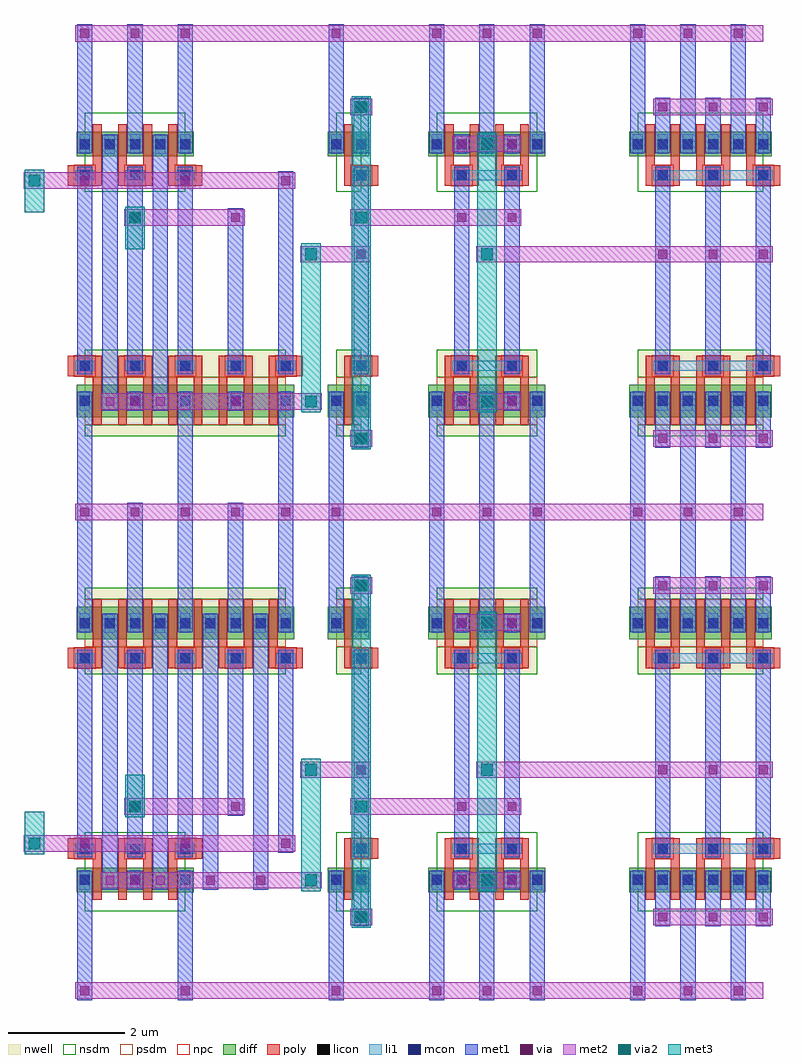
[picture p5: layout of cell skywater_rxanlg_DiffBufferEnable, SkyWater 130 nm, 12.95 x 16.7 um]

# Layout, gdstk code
import gdstk
lib = gdstk.Library(unit=1e-6, precision=1e-09)
def R(c, l, rs):  # rectangles x0, y0, x1, y1
    for r in rs: c.add(gdstk.rectangle(r[:2], r[2:], *l))
def A(c, l, x, y, w, h, nx, ny, dx, dy):  # array of equal rectangles
    R(c, l, [(x+i*dx, y+j*dy, x+i*dx+w, y+j*dy+h) for i in range(nx) for j in range(ny)])
def P(c, l, *ps):  # polygons
    for p in ps: c.add(gdstk.Polygon(p, *l))
nwell = (64, 20)
diff = (65, 20)
poly = (66, 20)
licon = (66, 44)
li1 = (67, 20)
mcon = (67, 44)
met1 = (68, 20)
via = (68, 44)
met2 = (69, 20)
via2 = (69, 44)
met3 = (70, 20)
nsdm = (93, 44)
psdm = (94, 20)
npc = (95, 20)

skywater_rxanlg_mosconn_ = lib.new_cell('skywater_rxanlg_MOSConn_7')
R(skywater_rxanlg_mosconn_, diff, [(-0.14,0.605,0.57,1.025)])
R(skywater_rxanlg_mosconn_, poly, [(0.265,0.105,0.595,0.455)])
P(skywater_rxanlg_mosconn_, poly, [(0.14,1.155),(0.14,0.105),(0.72,0.105),(0.72,0.455),(0.29,0.455),(0.29,1.155)])
R(skywater_rxanlg_mosconn_, licon, [(0.345,0.195,0.515,0.365), (-0.085,0.73,0.085,0.9), (0.345,0.73,0.515,0.9)])
R(skywater_rxanlg_mosconn_, li1, [(0.265,0.195,0.595,0.365), (0.265,0.195,0.595,0.365), (0.305,0.195,0.555,0.365), (-0.085,0.65,0.085,0.98), (0.345,0.65,0.515,0.98), (-0.085,0.69,0.085,0.94), (0.345,0.69,0.515,0.94)])
R(skywater_rxanlg_mosconn_, mcon, [(0.345,0.195,0.515,0.365), (-0.085,0.73,0.085,0.9), (0.345,0.73,0.515,0.9)])
R(skywater_rxanlg_mosconn_, met1, [(0.3,0.105,0.56,0.425), (0.3,0.135,0.56,0.425), (-0.13,0.655,0.13,0.975), (0.3,0.655,0.56,0.975), (-0.13,0.67,0.13,0.96), (0.3,0.67,0.56,0.96)])
R(skywater_rxanlg_mosconn_, nsdm, [(0,0,0.43,1.35)])
R(skywater_rxanlg_mosconn_, npc, [(0.245,0.095,0.615,0.465)])

c_skywater_rxanlg_mosconn_ = lib.new_cell('skywater_rxanlg_MOSConn_4')
R(c_skywater_rxanlg_mosconn_, nwell, [(0,0,0.43,1.48)])
R(c_skywater_rxanlg_mosconn_, diff, [(-0.14,0.605,0.57,1.155)])
R(c_skywater_rxanlg_mosconn_, poly, [(0.265,0.105,0.595,0.455)])
P(c_skywater_rxanlg_mosconn_, poly, [(0.14,1.285),(0.14,0.105),(0.72,0.105),(0.72,0.455),(0.29,0.455),(0.29,1.285)])
R(c_skywater_rxanlg_mosconn_, licon, [(0.345,0.195,0.515,0.365), (-0.085,0.795,0.085,0.965), (0.345,0.795,0.515,0.965)])
R(c_skywater_rxanlg_mosconn_, li1, [(0.265,0.195,0.595,0.365), (0.265,0.195,0.595,0.365), (0.305,0.195,0.555,0.365), (-0.085,0.715,0.085,1.045), (0.345,0.715,0.515,1.045), (-0.085,0.755,0.085,1.005), (0.345,0.755,0.515,1.005)])
R(c_skywater_rxanlg_mosconn_, mcon, [(0.345,0.195,0.515,0.365), (-0.085,0.795,0.085,0.965), (0.345,0.795,0.515,0.965)])
R(c_skywater_rxanlg_mosconn_, met1, [(0.3,0.105,0.56,0.425), (0.3,0.135,0.56,0.425), (-0.13,0.72,0.13,1.04), (0.3,0.72,0.56,1.04), (-0.13,0.735,0.13,1.025), (0.3,0.735,0.56,1.025)])
R(c_skywater_rxanlg_mosconn_, nsdm, [(0,0,0.43,0.475), (0,1.285,0.43,1.48)])
R(c_skywater_rxanlg_mosconn_, psdm, [(0,0.475,0.43,1.285)])
R(c_skywater_rxanlg_mosconn_, npc, [(0.245,0.095,0.615,0.465)])

skywater_rxanlg_invcore_ = lib.new_cell('skywater_rxanlg_InvCore_9')
R(skywater_rxanlg_invcore_, met1, [(-0.13,-0.16,0.13,2.055), (-0.13,-0.16,0.13,0.16), (0.3,1.1,0.56,2.055), (0.3,1.1,0.56,1.42), (0.3,2.285,0.56,5.835), (0.3,3.62,0.56,3.94), (-0.13,6.13,0.13,8.35), (0.3,6.13,0.56,7.09), (0.3,6.77,0.56,7.09), (-0.13,8.03,0.13,8.35)])
R(skywater_rxanlg_invcore_, via, [(-0.075,-0.075,0.075,0.075), (0.355,1.185,0.505,1.335), (0.355,3.705,0.505,3.855), (0.355,6.855,0.505,7.005), (-0.075,8.115,0.075,8.265)])
R(skywater_rxanlg_invcore_, met2, [(-0.16,-0.14,0.43,0.14), (-0.16,-0.14,0.16,0.14), (0.245,1.12,0.615,1.4), (0.245,1.12,0.615,1.4), (0.27,1.12,0.59,1.4), (0.27,3.64,0.59,3.92), (0.27,3.64,0.59,3.92), (0.245,6.79,0.615,7.07), (0.245,6.79,0.615,7.07), (0.27,6.79,0.59,7.07), (-0.16,8.05,0.43,8.33), (-0.16,8.05,0.16,8.33)])
R(skywater_rxanlg_invcore_, via2, [(0.33,1.16,0.53,1.36), (0.33,6.83,0.53,7.03)])
R(skywater_rxanlg_invcore_, met3, [(0.265,1.075,0.595,7.115), (0.265,1.075,0.595,1.445), (0.265,6.745,0.595,7.115)])
skywater_rxanlg_invcore_.add(gdstk.Reference(skywater_rxanlg_mosconn_, (0,2.71), x_reflection=True))
skywater_rxanlg_invcore_.add(gdstk.Reference(c_skywater_rxanlg_mosconn_, (0,5.41)))

c_skywater_rxanlg_mosconn__ = lib.new_cell('skywater_rxanlg_MOSConn_14')
R(c_skywater_rxanlg_mosconn__, diff, [(-0.14,0.605,2.29,1.025)])
A(c_skywater_rxanlg_mosconn__, poly, 0.265, 0.105, 0.33, 0.35, 3, 1, 0.86, 0)
P(c_skywater_rxanlg_mosconn__, poly, [(0.57,1.155),(0.57,0.455),(0.29,0.455),(0.29,1.155),(0.14,1.155),(0.14,0.105),(0.72,0.105),(0.72,1.155)],
  [(1.43,1.155),(1.43,0.455),(1.15,0.455),(1.15,1.155),(1,1.155),(1,0.105),(1.58,0.105),(1.58,1.155)],
  [(1.86,1.155),(1.86,0.105),(2.44,0.105),(2.44,0.455),(2.01,0.455),(2.01,1.155)])
A(c_skywater_rxanlg_mosconn__, licon, 0.345, 0.195, 0.17, 0.17, 3, 1, 0.86, 0)
A(c_skywater_rxanlg_mosconn__, licon, -0.085, 0.73, 0.17, 0.17, 6, 1, 0.43, 0)
A(c_skywater_rxanlg_mosconn__, li1, 0.265, 0.195, 0.33, 0.17, 3, 1, 0.86, 0)
A(c_skywater_rxanlg_mosconn__, li1, 0.305, 0.195, 0.25, 0.17, 3, 1, 0.86, 0)
A(c_skywater_rxanlg_mosconn__, li1, -0.085, 0.65, 0.17, 0.33, 6, 1, 0.43, 0)
A(c_skywater_rxanlg_mosconn__, li1, -0.085, 0.69, 0.17, 0.25, 6, 1, 0.43, 0)
R(c_skywater_rxanlg_mosconn__, li1, [(0.265,0.195,2.315,0.365)])
A(c_skywater_rxanlg_mosconn__, mcon, 0.345, 0.195, 0.17, 0.17, 3, 1, 0.86, 0)
A(c_skywater_rxanlg_mosconn__, mcon, -0.085, 0.73, 0.17, 0.17, 6, 1, 0.43, 0)
A(c_skywater_rxanlg_mosconn__, met1, 0.3, 0.105, 0.26, 0.32, 3, 1, 0.86, 0)
A(c_skywater_rxanlg_mosconn__, met1, 0.3, 0.135, 0.26, 0.29, 3, 1, 0.86, 0)
A(c_skywater_rxanlg_mosconn__, met1, -0.13, 0.655, 0.26, 0.32, 6, 1, 0.43, 0)
A(c_skywater_rxanlg_mosconn__, met1, -0.13, 0.67, 0.26, 0.29, 6, 1, 0.43, 0)
R(c_skywater_rxanlg_mosconn__, nsdm, [(0,0,2.15,1.35)])
A(c_skywater_rxanlg_mosconn__, npc, 0.245, 0.095, 0.37, 0.37, 3, 1, 0.86, 0)

c_skywater_rxanlg_mosconn___ = lib.new_cell('skywater_rxanlg_MOSConn_13')
R(c_skywater_rxanlg_mosconn___, nwell, [(0,0,2.15,1.48)])
R(c_skywater_rxanlg_mosconn___, diff, [(-0.14,0.605,2.29,1.155)])
A(c_skywater_rxanlg_mosconn___, poly, 0.265, 0.105, 0.33, 0.35, 3, 1, 0.86, 0)
P(c_skywater_rxanlg_mosconn___, poly, [(0.57,1.285),(0.57,0.455),(0.29,0.455),(0.29,1.285),(0.14,1.285),(0.14,0.105),(0.72,0.105),(0.72,1.285)],
  [(1.43,1.285),(1.43,0.455),(1.15,0.455),(1.15,1.285),(1,1.285),(1,0.105),(1.58,0.105),(1.58,1.285)],
  [(1.86,1.285),(1.86,0.105),(2.44,0.105),(2.44,0.455),(2.01,0.455),(2.01,1.285)])
A(c_skywater_rxanlg_mosconn___, licon, 0.345, 0.195, 0.17, 0.17, 3, 1, 0.86, 0)
A(c_skywater_rxanlg_mosconn___, licon, -0.085, 0.795, 0.17, 0.17, 6, 1, 0.43, 0)
A(c_skywater_rxanlg_mosconn___, li1, 0.265, 0.195, 0.33, 0.17, 3, 1, 0.86, 0)
A(c_skywater_rxanlg_mosconn___, li1, 0.305, 0.195, 0.25, 0.17, 3, 1, 0.86, 0)
A(c_skywater_rxanlg_mosconn___, li1, -0.085, 0.715, 0.17, 0.33, 6, 1, 0.43, 0)
A(c_skywater_rxanlg_mosconn___, li1, -0.085, 0.755, 0.17, 0.25, 6, 1, 0.43, 0)
R(c_skywater_rxanlg_mosconn___, li1, [(0.265,0.195,2.315,0.365)])
A(c_skywater_rxanlg_mosconn___, mcon, 0.345, 0.195, 0.17, 0.17, 3, 1, 0.86, 0)
A(c_skywater_rxanlg_mosconn___, mcon, -0.085, 0.795, 0.17, 0.17, 6, 1, 0.43, 0)
A(c_skywater_rxanlg_mosconn___, met1, 0.3, 0.105, 0.26, 0.32, 3, 1, 0.86, 0)
A(c_skywater_rxanlg_mosconn___, met1, 0.3, 0.135, 0.26, 0.29, 3, 1, 0.86, 0)
A(c_skywater_rxanlg_mosconn___, met1, -0.13, 0.72, 0.26, 0.32, 6, 1, 0.43, 0)
A(c_skywater_rxanlg_mosconn___, met1, -0.13, 0.735, 0.26, 0.29, 6, 1, 0.43, 0)
R(c_skywater_rxanlg_mosconn___, nsdm, [(0,0,2.15,0.475), (0,1.285,2.15,1.48)])
R(c_skywater_rxanlg_mosconn___, psdm, [(0,0.475,2.15,1.285)])
A(c_skywater_rxanlg_mosconn___, npc, 0.245, 0.095, 0.37, 0.37, 3, 1, 0.86, 0)

c_skywater_rxanlg_invcore_ = lib.new_cell('skywater_rxanlg_InvCore_11')
A(c_skywater_rxanlg_invcore_, met1, -0.13, -0.16, 0.26, 2.215, 3, 1, 0.86, 0)
A(c_skywater_rxanlg_invcore_, met1, -0.13, -0.16, 0.26, 0.32, 3, 2, 0.86, 8.19)
A(c_skywater_rxanlg_invcore_, met1, 0.3, 1.1, 0.26, 0.955, 3, 1, 0.86, 0)
A(c_skywater_rxanlg_invcore_, met1, 0.3, 1.1, 0.26, 0.32, 3, 2, 0.86, 2.52)
A(c_skywater_rxanlg_invcore_, met1, 0.3, 2.285, 0.26, 3.55, 3, 1, 0.86, 0)
A(c_skywater_rxanlg_invcore_, met1, -0.13, 6.13, 0.26, 2.22, 3, 1, 0.86, 0)
A(c_skywater_rxanlg_invcore_, met1, 0.3, 6.13, 0.26, 0.96, 3, 1, 0.86, 0)
A(c_skywater_rxanlg_invcore_, met1, 0.3, 6.77, 0.26, 0.32, 3, 1, 0.86, 0)
A(c_skywater_rxanlg_invcore_, via, -0.075, -0.075, 0.15, 0.15, 3, 2, 0.86, 8.19)
A(c_skywater_rxanlg_invcore_, via, 0.355, 1.185, 0.15, 0.15, 3, 2, 0.86, 2.52)
A(c_skywater_rxanlg_invcore_, via, 0.355, 6.855, 0.15, 0.15, 3, 1, 0.86, 0)
A(c_skywater_rxanlg_invcore_, met2, -0.16, -0.14, 0.32, 0.28, 3, 2, 0.86, 8.19)
A(c_skywater_rxanlg_invcore_, met2, 0.27, 1.12, 0.32, 0.28, 3, 2, 0.86, 2.52)
A(c_skywater_rxanlg_invcore_, met2, 0.27, 6.79, 0.32, 0.28, 3, 1, 0.86, 0)
R(c_skywater_rxanlg_invcore_, met2, [(-0.16,-0.14,2.15,0.14), (0.27,1.12,2.31,1.4), (0.27,3.64,2.31,3.92), (0.27,6.79,2.31,7.07), (-0.16,8.05,2.15,8.33)])
c_skywater_rxanlg_invcore_.add(gdstk.Reference(c_skywater_rxanlg_mosconn__, (0,2.71), x_reflection=True))
c_skywater_rxanlg_invcore_.add(gdstk.Reference(c_skywater_rxanlg_mosconn___, (0,5.41)))

c_skywater_rxanlg_mosconn____ = lib.new_cell('skywater_rxanlg_MOSConn_8')
R(c_skywater_rxanlg_mosconn____, diff, [(-0.14,0.605,1.86,1.025)])
R(c_skywater_rxanlg_mosconn____, poly, [(0.265,0.105,0.595,0.455), (1.125,0.105,1.455,0.455)])
P(c_skywater_rxanlg_mosconn____, poly, [(0.57,1.155),(0.57,0.455),(0.29,0.455),(0.29,1.155),(0.14,1.155),(0.14,0.105),(0.72,0.105),(0.72,1.155)],
  [(1.43,1.155),(1.43,0.455),(1.15,0.455),(1.15,1.155),(1,1.155),(1,0.105),(1.58,0.105),(1.58,1.155)])
A(c_skywater_rxanlg_mosconn____, licon, -0.085, 0.73, 0.17, 0.17, 5, 1, 0.43, 0)
R(c_skywater_rxanlg_mosconn____, licon, [(0.345,0.195,0.515,0.365), (1.205,0.195,1.375,0.365)])
A(c_skywater_rxanlg_mosconn____, li1, -0.085, 0.65, 0.17, 0.33, 5, 1, 0.43, 0)
A(c_skywater_rxanlg_mosconn____, li1, -0.085, 0.69, 0.17, 0.25, 5, 1, 0.43, 0)
R(c_skywater_rxanlg_mosconn____, li1, [(0.265,0.195,1.455,0.365), (0.265,0.195,0.595,0.365), (0.305,0.195,0.555,0.365), (1.125,0.195,1.455,0.365), (1.165,0.195,1.415,0.365)])
A(c_skywater_rxanlg_mosconn____, mcon, -0.085, 0.73, 0.17, 0.17, 5, 1, 0.43, 0)
R(c_skywater_rxanlg_mosconn____, mcon, [(0.345,0.195,0.515,0.365), (1.205,0.195,1.375,0.365)])
A(c_skywater_rxanlg_mosconn____, met1, -0.13, 0.655, 0.26, 0.32, 5, 1, 0.43, 0)
A(c_skywater_rxanlg_mosconn____, met1, -0.13, 0.67, 0.26, 0.29, 5, 1, 0.43, 0)
R(c_skywater_rxanlg_mosconn____, met1, [(0.3,0.105,0.56,0.425), (1.16,0.105,1.42,0.425), (0.3,0.135,0.56,0.425), (1.16,0.135,1.42,0.425)])
R(c_skywater_rxanlg_mosconn____, nsdm, [(0,0,1.72,1.35)])
R(c_skywater_rxanlg_mosconn____, npc, [(0.245,0.095,0.615,0.465), (1.105,0.095,1.475,0.465)])

c_skywater_rxanlg_mosconn_____ = lib.new_cell('skywater_rxanlg_MOSConn_9')
R(c_skywater_rxanlg_mosconn_____, nwell, [(0,0,1.72,1.48)])
R(c_skywater_rxanlg_mosconn_____, diff, [(-0.14,0.605,1.86,1.155)])
R(c_skywater_rxanlg_mosconn_____, poly, [(0.265,0.105,0.595,0.455), (1.125,0.105,1.455,0.455)])
P(c_skywater_rxanlg_mosconn_____, poly, [(0.57,1.285),(0.57,0.455),(0.29,0.455),(0.29,1.285),(0.14,1.285),(0.14,0.105),(0.72,0.105),(0.72,1.285)],
  [(1.43,1.285),(1.43,0.455),(1.15,0.455),(1.15,1.285),(1,1.285),(1,0.105),(1.58,0.105),(1.58,1.285)])
A(c_skywater_rxanlg_mosconn_____, licon, -0.085, 0.795, 0.17, 0.17, 5, 1, 0.43, 0)
R(c_skywater_rxanlg_mosconn_____, licon, [(0.345,0.195,0.515,0.365), (1.205,0.195,1.375,0.365)])
A(c_skywater_rxanlg_mosconn_____, li1, -0.085, 0.715, 0.17, 0.33, 5, 1, 0.43, 0)
A(c_skywater_rxanlg_mosconn_____, li1, -0.085, 0.755, 0.17, 0.25, 5, 1, 0.43, 0)
R(c_skywater_rxanlg_mosconn_____, li1, [(0.265,0.195,1.455,0.365), (0.265,0.195,0.595,0.365), (0.305,0.195,0.555,0.365), (1.125,0.195,1.455,0.365), (1.165,0.195,1.415,0.365)])
A(c_skywater_rxanlg_mosconn_____, mcon, -0.085, 0.795, 0.17, 0.17, 5, 1, 0.43, 0)
R(c_skywater_rxanlg_mosconn_____, mcon, [(0.345,0.195,0.515,0.365), (1.205,0.195,1.375,0.365)])
A(c_skywater_rxanlg_mosconn_____, met1, -0.13, 0.72, 0.26, 0.32, 5, 1, 0.43, 0)
A(c_skywater_rxanlg_mosconn_____, met1, -0.13, 0.735, 0.26, 0.29, 5, 1, 0.43, 0)
R(c_skywater_rxanlg_mosconn_____, met1, [(0.3,0.105,0.56,0.425), (1.16,0.105,1.42,0.425), (0.3,0.135,0.56,0.425), (1.16,0.135,1.42,0.425)])
R(c_skywater_rxanlg_mosconn_____, nsdm, [(0,0,1.72,0.475), (0,1.285,1.72,1.48)])
R(c_skywater_rxanlg_mosconn_____, psdm, [(0,0.475,1.72,1.285)])
R(c_skywater_rxanlg_mosconn_____, npc, [(0.245,0.095,0.615,0.465), (1.105,0.095,1.475,0.465)])

c_skywater_rxanlg_invcore__ = lib.new_cell('skywater_rxanlg_InvCore_10')
A(c_skywater_rxanlg_invcore__, met1, -0.13, -0.16, 0.26, 2.215, 3, 1, 0.86, 0)
A(c_skywater_rxanlg_invcore__, met1, -0.13, -0.16, 0.26, 0.32, 3, 2, 0.86, 8.19)
A(c_skywater_rxanlg_invcore__, met1, -0.13, 6.13, 0.26, 2.22, 3, 1, 0.86, 0)
R(c_skywater_rxanlg_invcore__, met1, [(0.3,1.73,0.56,2.055), (0.3,1.73,0.56,2.05), (1.16,1.73,1.42,2.055), (1.16,1.73,1.42,2.05), (0.3,2.285,0.56,5.835), (1.16,2.285,1.42,5.835), (0.3,2.99,0.56,3.31), (1.16,2.99,1.42,3.31), (0.3,6.13,0.56,6.46), (1.16,6.13,1.42,6.46), (0.3,6.14,0.56,6.46), (1.16,6.14,1.42,6.46)])
A(c_skywater_rxanlg_invcore__, via, -0.075, -0.075, 0.15, 0.15, 3, 2, 0.86, 8.19)
R(c_skywater_rxanlg_invcore__, via, [(0.355,1.815,0.505,1.965), (1.215,1.815,1.365,1.965), (0.355,3.075,0.505,3.225), (1.215,3.075,1.365,3.225), (0.355,6.225,0.505,6.375), (1.215,6.225,1.365,6.375)])
A(c_skywater_rxanlg_invcore__, met2, -0.16, -0.14, 0.32, 0.28, 3, 2, 0.86, 8.19)
R(c_skywater_rxanlg_invcore__, met2, [(-0.16,-0.14,1.88,0.14), (0.27,1.75,1.45,2.03), (0.27,1.75,0.59,2.03), (0.675,1.75,1.045,2.03), (1.13,1.75,1.45,2.03), (0.27,3.01,1.45,3.29), (0.27,3.01,0.59,3.29), (1.13,3.01,1.45,3.29), (0.27,6.16,1.45,6.44), (0.27,6.16,0.59,6.44), (0.675,6.16,1.045,6.44), (1.13,6.16,1.45,6.44), (-0.16,8.05,1.88,8.33)])
R(c_skywater_rxanlg_invcore__, via2, [(0.76,1.79,0.96,1.99), (0.76,6.2,0.96,6.4)])
R(c_skywater_rxanlg_invcore__, met3, [(0.695,1.705,1.025,6.485), (0.695,1.705,1.025,2.075), (0.695,6.115,1.025,6.485)])
c_skywater_rxanlg_invcore__.add(gdstk.Reference(c_skywater_rxanlg_mosconn____, (0,2.71), x_reflection=True))
c_skywater_rxanlg_invcore__.add(gdstk.Reference(c_skywater_rxanlg_mosconn_____, (0,5.41)))

skywater_rxanlg_invchain = lib.new_cell('skywater_rxanlg_InvChainCore_4')
R(skywater_rxanlg_invchain, met2, [(-0.16,-0.14,7.31,0.14), (0.245,3.01,3.17,3.29), (0.245,3.01,0.615,3.29), (2.395,3.64,7.47,3.92), (2.395,3.64,2.765,3.92), (-0.16,8.05,7.31,8.33)])
R(skywater_rxanlg_invchain, via2, [(0.33,3.05,0.53,3.25), (2.48,3.68,2.68,3.88)])
R(skywater_rxanlg_invchain, met3, [(0.265,1.075,0.595,7.115), (2.415,1.705,2.745,6.485), (0.265,2.965,0.595,3.335), (2.415,3.595,2.745,3.965)])
skywater_rxanlg_invchain.add(gdstk.Reference(skywater_rxanlg_invcore_, (0,0)))
skywater_rxanlg_invchain.add(gdstk.Reference(c_skywater_rxanlg_invcore_, (5.16,0)))
skywater_rxanlg_invchain.add(gdstk.Reference(c_skywater_rxanlg_invcore__, (1.72,0)))

c_skywater_rxanlg_mosconn______ = lib.new_cell('skywater_rxanlg_MOSConn_16')
R(c_skywater_rxanlg_mosconn______, diff, [(-0.14,0.605,1.86,1.025)])
A(c_skywater_rxanlg_mosconn______, poly, -0.165, 0.105, 0.33, 0.35, 3, 1, 0.86, 0)
P(c_skywater_rxanlg_mosconn______, poly, [(0.14,1.155),(0.14,0.455),(-0.29,0.455),(-0.29,0.105),(0.29,0.105),(0.29,1.155)],
  [(1,1.155),(1,0.455),(0.72,0.455),(0.72,1.155),(0.57,1.155),(0.57,0.105),(1.15,0.105),(1.15,1.155)],
  [(1.43,1.155),(1.43,0.105),(2.01,0.105),(2.01,0.455),(1.58,0.455),(1.58,1.155)])
A(c_skywater_rxanlg_mosconn______, licon, -0.085, 0.195, 0.17, 0.17, 3, 2, 0.86, 0.535)
A(c_skywater_rxanlg_mosconn______, li1, -0.125, 0.195, 0.25, 0.17, 3, 1, 0.86, 0)
A(c_skywater_rxanlg_mosconn______, li1, -0.085, 0.65, 0.17, 0.33, 3, 1, 0.86, 0)
A(c_skywater_rxanlg_mosconn______, li1, -0.085, 0.69, 0.17, 0.25, 3, 1, 0.86, 0)
R(c_skywater_rxanlg_mosconn______, li1, [(-0.165,0.195,0.165,0.365), (-0.165,0.195,0.165,0.365), (0.695,0.195,1.025,0.365), (0.695,0.195,1.025,0.365), (1.555,0.195,1.885,0.365), (1.555,0.195,1.885,0.365)])
A(c_skywater_rxanlg_mosconn______, mcon, -0.085, 0.195, 0.17, 0.17, 3, 2, 0.86, 0.535)
A(c_skywater_rxanlg_mosconn______, met1, -0.13, 0.105, 0.26, 0.32, 3, 2, 0.86, 0.55)
A(c_skywater_rxanlg_mosconn______, met1, -0.13, 0.135, 0.26, 0.29, 3, 2, 0.86, 0.535)
R(c_skywater_rxanlg_mosconn______, nsdm, [(0,0,1.72,1.35)])
A(c_skywater_rxanlg_mosconn______, npc, -0.185, 0.095, 0.37, 0.37, 3, 1, 0.86, 0)

c_skywater_rxanlg_mosconn_______ = lib.new_cell('skywater_rxanlg_MOSConn_15')
R(c_skywater_rxanlg_mosconn_______, nwell, [(0,0,3.44,1.48)])
R(c_skywater_rxanlg_mosconn_______, diff, [(-0.14,0.605,3.58,1.155)])
A(c_skywater_rxanlg_mosconn_______, poly, -0.165, 0.105, 0.33, 0.35, 5, 1, 0.86, 0)
P(c_skywater_rxanlg_mosconn_______, poly, [(0.14,1.285),(0.14,0.455),(-0.29,0.455),(-0.29,0.105),(0.29,0.105),(0.29,1.285)],
  [(1,1.285),(1,0.455),(0.72,0.455),(0.72,1.285),(0.57,1.285),(0.57,0.105),(1.15,0.105),(1.15,1.285)],
  [(1.86,1.285),(1.86,0.455),(1.58,0.455),(1.58,1.285),(1.43,1.285),(1.43,0.105),(2.01,0.105),(2.01,1.285)],
  [(2.72,1.285),(2.72,0.455),(2.44,0.455),(2.44,1.285),(2.29,1.285),(2.29,0.105),(2.87,0.105),(2.87,1.285)],
  [(3.15,1.285),(3.15,0.105),(3.73,0.105),(3.73,0.455),(3.3,0.455),(3.3,1.285)])
A(c_skywater_rxanlg_mosconn_______, licon, -0.085, 0.195, 0.17, 0.17, 5, 1, 0.86, 0)
A(c_skywater_rxanlg_mosconn_______, licon, -0.085, 0.795, 0.17, 0.17, 9, 1, 0.43, 0)
A(c_skywater_rxanlg_mosconn_______, li1, -0.125, 0.195, 0.25, 0.17, 5, 1, 0.86, 0)
A(c_skywater_rxanlg_mosconn_______, li1, -0.085, 0.715, 0.17, 0.33, 9, 1, 0.43, 0)
A(c_skywater_rxanlg_mosconn_______, li1, -0.085, 0.755, 0.17, 0.25, 9, 1, 0.43, 0)
R(c_skywater_rxanlg_mosconn_______, li1, [(-0.165,0.195,0.165,0.365), (-0.165,0.195,0.165,0.365), (0.695,0.195,1.025,0.365), (0.695,0.195,1.025,0.365), (1.555,0.195,1.885,0.365), (1.555,0.195,1.885,0.365), (2.415,0.195,2.745,0.365), (2.415,0.195,2.745,0.365), (3.275,0.195,3.605,0.365), (3.275,0.195,3.605,0.365)])
A(c_skywater_rxanlg_mosconn_______, mcon, -0.085, 0.195, 0.17, 0.17, 5, 1, 0.86, 0)
A(c_skywater_rxanlg_mosconn_______, mcon, -0.085, 0.795, 0.17, 0.17, 9, 1, 0.43, 0)
A(c_skywater_rxanlg_mosconn_______, met1, -0.13, 0.105, 0.26, 0.32, 5, 1, 0.86, 0)
A(c_skywater_rxanlg_mosconn_______, met1, -0.13, 0.135, 0.26, 0.29, 5, 1, 0.86, 0)
A(c_skywater_rxanlg_mosconn_______, met1, -0.13, 0.72, 0.26, 0.32, 9, 1, 0.43, 0)
A(c_skywater_rxanlg_mosconn_______, met1, -0.13, 0.735, 0.26, 0.29, 9, 1, 0.43, 0)
R(c_skywater_rxanlg_mosconn_______, nsdm, [(0,0,3.44,0.475), (0,1.285,3.44,1.48)])
R(c_skywater_rxanlg_mosconn_______, psdm, [(0,0.475,3.44,1.285)])
A(c_skywater_rxanlg_mosconn_______, npc, -0.185, 0.095, 0.37, 0.37, 5, 1, 0.86, 0)

skywater_rxanlg_nand2cor = lib.new_cell('skywater_rxanlg_NAND2Core_1')
A(skywater_rxanlg_nand2cor, met1, 0.3, 1.73, 0.26, 4.72, 4, 1, 0.86, 0)
A(skywater_rxanlg_nand2cor, met1, 0.3, 1.73, 0.26, 0.32, 3, 1, 0.43, 0)
A(skywater_rxanlg_nand2cor, met1, -0.13, 2.285, 0.26, 3.55, 3, 1, 0.86, 0)
A(skywater_rxanlg_nand2cor, met1, -0.13, 2.36, 0.26, 0.32, 3, 1, 1.72, 0)
A(skywater_rxanlg_nand2cor, met1, -0.13, 6.13, 0.26, 2.22, 5, 1, 0.86, 0)
A(skywater_rxanlg_nand2cor, met1, -0.13, 8.03, 0.26, 0.32, 5, 1, 0.86, 0)
R(skywater_rxanlg_nand2cor, met1, [(-0.13,-0.16,0.13,2.055), (-0.13,-0.16,0.13,0.16), (1.59,-0.16,1.85,2.055), (1.59,-0.16,1.85,0.16), (0.73,1.73,0.99,2.055), (2.02,1.73,2.28,2.05), (2.88,1.73,3.14,2.05), (3.31,2.36,3.57,5.835), (0.73,2.99,0.99,3.31), (2.45,2.99,2.71,5.835), (2.45,2.99,2.71,3.31)])
A(skywater_rxanlg_nand2cor, via, 0.355, 1.815, 0.15, 0.15, 3, 1, 0.43, 0)
A(skywater_rxanlg_nand2cor, via, -0.075, 2.445, 0.15, 0.15, 3, 1, 1.72, 0)
A(skywater_rxanlg_nand2cor, via, -0.075, 8.115, 0.15, 0.15, 5, 1, 0.86, 0)
R(skywater_rxanlg_nand2cor, via, [(-0.075,-0.075,0.075,0.075), (1.645,-0.075,1.795,0.075), (2.075,1.815,2.225,1.965), (2.935,1.815,3.085,1.965), (0.785,3.075,0.935,3.225), (2.505,3.075,2.655,3.225)])
A(skywater_rxanlg_nand2cor, met2, 0.27, 1.75, 0.32, 0.28, 3, 1, 0.43, 0)
A(skywater_rxanlg_nand2cor, met2, -0.16, 2.38, 0.32, 0.28, 3, 1, 1.72, 0)
A(skywater_rxanlg_nand2cor, met2, -0.16, 8.05, 0.32, 0.28, 5, 1, 0.86, 0)
R(skywater_rxanlg_nand2cor, met2, [(-0.16,-0.14,3.44,0.14), (-0.16,-0.14,0.16,0.14), (1.56,-0.14,1.88,0.14), (0.27,1.75,3.17,2.03), (1.99,1.75,2.31,2.03), (2.85,1.75,3.17,2.03), (-0.16,2.38,3.6,2.66), (0.7,3.01,2.74,3.29), (0.7,3.01,1.02,3.29), (2.42,3.01,2.74,3.29), (-0.16,8.05,3.6,8.33)])
skywater_rxanlg_nand2cor.add(gdstk.Reference(c_skywater_rxanlg_mosconn______, (0,2.71), x_reflection=True))
skywater_rxanlg_nand2cor.add(gdstk.Reference(c_skywater_rxanlg_mosconn_______, (0,5.41)))

c_skywater_rxanlg_mosconn________ = lib.new_cell('skywater_rxanlg_MOSConn_18')
R(c_skywater_rxanlg_mosconn________, diff, [(-0.14,0.605,1.86,1.025)])
A(c_skywater_rxanlg_mosconn________, poly, -0.165, 0.105, 0.33, 0.35, 3, 1, 0.86, 0)
P(c_skywater_rxanlg_mosconn________, poly, [(0.14,1.155),(0.14,0.455),(-0.29,0.455),(-0.29,0.105),(0.29,0.105),(0.29,1.155)],
  [(1,1.155),(1,0.455),(0.72,0.455),(0.72,1.155),(0.57,1.155),(0.57,0.105),(1.15,0.105),(1.15,1.155)],
  [(1.43,1.155),(1.43,0.105),(2.01,0.105),(2.01,0.455),(1.58,0.455),(1.58,1.155)])
A(c_skywater_rxanlg_mosconn________, licon, -0.085, 0.195, 0.17, 0.17, 3, 1, 0.86, 0)
A(c_skywater_rxanlg_mosconn________, licon, -0.085, 0.73, 0.17, 0.17, 5, 1, 0.43, 0)
A(c_skywater_rxanlg_mosconn________, li1, -0.125, 0.195, 0.25, 0.17, 3, 1, 0.86, 0)
A(c_skywater_rxanlg_mosconn________, li1, -0.085, 0.65, 0.17, 0.33, 5, 1, 0.43, 0)
A(c_skywater_rxanlg_mosconn________, li1, -0.085, 0.69, 0.17, 0.25, 5, 1, 0.43, 0)
R(c_skywater_rxanlg_mosconn________, li1, [(-0.165,0.195,0.165,0.365), (-0.165,0.195,0.165,0.365), (0.695,0.195,1.025,0.365), (0.695,0.195,1.025,0.365), (1.555,0.195,1.885,0.365), (1.555,0.195,1.885,0.365)])
A(c_skywater_rxanlg_mosconn________, mcon, -0.085, 0.195, 0.17, 0.17, 3, 1, 0.86, 0)
A(c_skywater_rxanlg_mosconn________, mcon, -0.085, 0.73, 0.17, 0.17, 5, 1, 0.43, 0)
A(c_skywater_rxanlg_mosconn________, met1, -0.13, 0.105, 0.26, 0.32, 3, 1, 0.86, 0)
A(c_skywater_rxanlg_mosconn________, met1, -0.13, 0.135, 0.26, 0.29, 3, 1, 0.86, 0)
A(c_skywater_rxanlg_mosconn________, met1, -0.13, 0.655, 0.26, 0.32, 5, 1, 0.43, 0)
A(c_skywater_rxanlg_mosconn________, met1, -0.13, 0.67, 0.26, 0.29, 5, 1, 0.43, 0)
R(c_skywater_rxanlg_mosconn________, nsdm, [(0,0,1.72,1.35)])
A(c_skywater_rxanlg_mosconn________, npc, -0.185, 0.095, 0.37, 0.37, 3, 1, 0.86, 0)

c_skywater_rxanlg_mosconn_________ = lib.new_cell('skywater_rxanlg_MOSConn_17')
R(c_skywater_rxanlg_mosconn_________, nwell, [(0,0,3.44,1.48)])
R(c_skywater_rxanlg_mosconn_________, diff, [(-0.14,0.605,3.58,1.155)])
A(c_skywater_rxanlg_mosconn_________, poly, -0.165, 0.105, 0.33, 0.35, 5, 1, 0.86, 0)
P(c_skywater_rxanlg_mosconn_________, poly, [(0.14,1.285),(0.14,0.455),(-0.29,0.455),(-0.29,0.105),(0.29,0.105),(0.29,1.285)],
  [(1,1.285),(1,0.455),(0.72,0.455),(0.72,1.285),(0.57,1.285),(0.57,0.105),(1.15,0.105),(1.15,1.285)],
  [(1.86,1.285),(1.86,0.455),(1.58,0.455),(1.58,1.285),(1.43,1.285),(1.43,0.105),(2.01,0.105),(2.01,1.285)],
  [(2.72,1.285),(2.72,0.455),(2.44,0.455),(2.44,1.285),(2.29,1.285),(2.29,0.105),(2.87,0.105),(2.87,1.285)],
  [(3.15,1.285),(3.15,0.105),(3.73,0.105),(3.73,0.455),(3.3,0.455),(3.3,1.285)])
A(c_skywater_rxanlg_mosconn_________, licon, -0.085, 0.195, 0.17, 0.17, 5, 2, 0.86, 0.6)
A(c_skywater_rxanlg_mosconn_________, li1, -0.125, 0.195, 0.25, 0.17, 5, 1, 0.86, 0)
A(c_skywater_rxanlg_mosconn_________, li1, -0.085, 0.715, 0.17, 0.33, 5, 1, 0.86, 0)
A(c_skywater_rxanlg_mosconn_________, li1, -0.085, 0.755, 0.17, 0.25, 5, 1, 0.86, 0)
R(c_skywater_rxanlg_mosconn_________, li1, [(-0.165,0.195,0.165,0.365), (-0.165,0.195,0.165,0.365), (0.695,0.195,1.025,0.365), (0.695,0.195,1.025,0.365), (1.555,0.195,1.885,0.365), (1.555,0.195,1.885,0.365), (2.415,0.195,2.745,0.365), (2.415,0.195,2.745,0.365), (3.275,0.195,3.605,0.365), (3.275,0.195,3.605,0.365)])
A(c_skywater_rxanlg_mosconn_________, mcon, -0.085, 0.195, 0.17, 0.17, 5, 2, 0.86, 0.6)
A(c_skywater_rxanlg_mosconn_________, met1, -0.13, 0.105, 0.26, 0.32, 5, 2, 0.86, 0.615)
A(c_skywater_rxanlg_mosconn_________, met1, -0.13, 0.135, 0.26, 0.29, 5, 2, 0.86, 0.6)
R(c_skywater_rxanlg_mosconn_________, nsdm, [(0,0,3.44,0.475), (0,1.285,3.44,1.48)])
R(c_skywater_rxanlg_mosconn_________, psdm, [(0,0.475,3.44,1.285)])
A(c_skywater_rxanlg_mosconn_________, npc, -0.185, 0.095, 0.37, 0.37, 5, 1, 0.86, 0)

skywater_rxanlg_nor2core = lib.new_cell('skywater_rxanlg_NOR2Core_1')
A(skywater_rxanlg_nor2core, met1, -0.13, -0.16, 0.26, 2.215, 3, 1, 0.86, 0)
A(skywater_rxanlg_nor2core, met1, -0.13, -0.16, 0.26, 0.32, 3, 1, 0.86, 0)
A(skywater_rxanlg_nor2core, met1, -0.13, 2.285, 0.26, 3.55, 3, 1, 0.86, 0)
A(skywater_rxanlg_nor2core, met1, -0.13, 2.36, 0.26, 0.32, 3, 2, 1.72, 5.67)
A(skywater_rxanlg_nor2core, met1, -0.13, 6.13, 0.26, 2.22, 3, 1, 1.72, 0)
A(skywater_rxanlg_nor2core, met1, 0.3, 6.14, 0.26, 0.32, 3, 1, 0.43, 0)
R(skywater_rxanlg_nor2core, met1, [(0.3,1.735,0.56,6.46), (1.16,1.735,1.42,6.46), (3.31,2.36,3.57,5.835), (0.73,2.99,0.99,3.31), (2.45,2.99,2.71,5.835), (2.45,2.99,2.71,3.31), (0.73,6.13,0.99,6.46), (2.45,6.13,2.71,6.46), (2.45,6.14,2.71,6.46)])
A(skywater_rxanlg_nor2core, via, -0.075, -0.075, 0.15, 0.15, 3, 1, 0.86, 0)
A(skywater_rxanlg_nor2core, via, -0.075, 2.445, 0.15, 0.15, 3, 2, 1.72, 5.67)
A(skywater_rxanlg_nor2core, via, 0.355, 6.225, 0.15, 0.15, 3, 1, 0.43, 0)
R(skywater_rxanlg_nor2core, via, [(0.785,3.075,0.935,3.225), (2.505,3.075,2.655,3.225), (2.505,6.225,2.655,6.375)])
A(skywater_rxanlg_nor2core, met2, -0.16, -0.14, 0.32, 0.28, 3, 1, 0.86, 0)
A(skywater_rxanlg_nor2core, met2, -0.16, 2.38, 0.32, 0.28, 3, 2, 1.72, 5.67)
A(skywater_rxanlg_nor2core, met2, 0.27, 6.16, 0.32, 0.28, 3, 1, 0.43, 0)
R(skywater_rxanlg_nor2core, met2, [(-0.16,-0.14,3.44,0.14), (-0.16,2.38,3.6,2.66), (0.7,3.01,2.74,3.29), (0.7,3.01,1.02,3.29), (2.42,3.01,2.74,3.29), (0.27,6.16,2.74,6.44), (2.42,6.16,2.74,6.44), (-0.16,8.05,3.6,8.33)])
skywater_rxanlg_nor2core.add(gdstk.Reference(c_skywater_rxanlg_mosconn________, (0,2.71), x_reflection=True))
skywater_rxanlg_nor2core.add(gdstk.Reference(c_skywater_rxanlg_mosconn_________, (0,5.41)))

skywater_rxanlg_diffbuff = lib.new_cell('skywater_rxanlg_DiffBufferEnable')
A(skywater_rxanlg_diffbuff, met2, 1.56, -0.14, 11.77, 0.28, 1, 3, 0, 8.19)
R(skywater_rxanlg_diffbuff, met2, [(1.99,1.75,5.775,2.03), (5.405,1.75,5.775,2.03), (0.675,2.38,5.32,2.66), (0.675,2.38,1.045,2.66), (2.395,3.01,4.46,3.29), (2.395,3.01,2.765,3.29), (5.405,3.64,6.61,3.92), (5.405,3.64,5.775,3.92), (1.99,9.94,5.775,10.22), (5.405,9.94,5.775,10.22), (5.405,12.46,6.61,12.74), (5.405,12.46,5.775,12.74), (2.395,13.09,4.46,13.37), (2.395,13.09,2.765,13.37), (0.675,13.72,5.32,14), (0.675,13.72,1.045,14)])
R(skywater_rxanlg_diffbuff, via2, [(5.49,1.79,5.69,1.99), (0.76,2.42,0.96,2.62), (2.48,3.05,2.68,3.25), (5.49,3.68,5.69,3.88), (5.49,9.98,5.69,10.18), (5.49,12.5,5.69,12.7), (2.48,13.13,2.68,13.33), (0.76,13.76,0.96,13.96)])
R(skywater_rxanlg_diffbuff, met3, [(5.425,1.705,5.755,3.965), (5.425,1.705,5.755,2.075), (0.695,2.335,1.025,3.065), (0.695,2.335,1.025,2.705), (2.415,2.965,2.745,3.695), (2.415,2.965,2.745,3.335), (5.425,3.595,5.755,3.965), (5.425,9.895,5.755,12.785), (5.425,9.895,5.755,10.265), (5.425,12.415,5.755,12.785), (2.415,12.685,2.745,13.415), (2.415,13.045,2.745,13.415), (0.695,13.315,1.025,14.045), (0.695,13.675,1.025,14.045)])
skywater_rxanlg_diffbuff.add(gdstk.Reference(skywater_rxanlg_invchain, (6.02,0)))
skywater_rxanlg_diffbuff.add(gdstk.Reference(skywater_rxanlg_nand2cor, (1.72,0)))
skywater_rxanlg_diffbuff.add(gdstk.Reference(skywater_rxanlg_invchain, (6.02,16.38), x_reflection=True))
skywater_rxanlg_diffbuff.add(gdstk.Reference(skywater_rxanlg_nor2core, (1.72,16.38), x_reflection=True))

lib.write_gds('skywater_rxanlg_DiffBufferEnable.gds')
